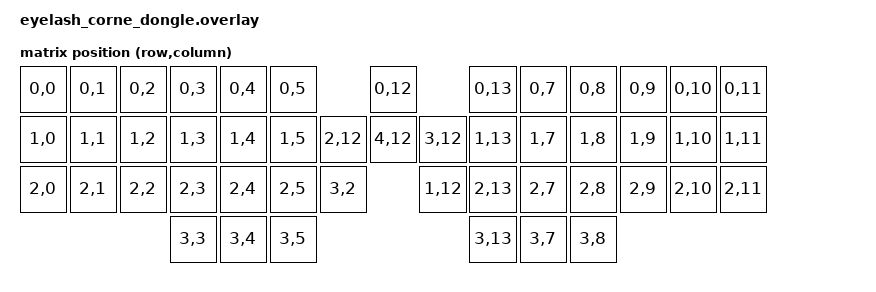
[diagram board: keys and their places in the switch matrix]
/* PandaKB 1.3-inch OLED receiver dongle (nice!nano v2-compatible nRF52840). */

#include <dt-bindings/zmk/matrix_transform.h>
#include "../eyelash_corne/eyelash_corne-layouts.dtsi"

/ {
    chosen {
        zmk,kscan = &mock_kscan;
        zmk,physical-layout = &default_layout;
        zephyr,display = &oled;
    };

    /* The dongle has no matrix; this lets it act as the split central. */
    mock_kscan: mock_kscan_0 {
        compatible = "zmk,kscan-mock";
        columns = <0>;
        rows = <0>;
        events = <0>;
    };

    /* Must match the transform used by both keyboard halves. */
    default_transform: keymap_transform_0 {
        compatible = "zmk,matrix-transform";
        columns = <14>;
        rows = <5>;
        map = <
            RC(0,0) RC(0,1) RC(0,2) RC(0,3) RC(0,4) RC(0,5)                      RC(0,12)           RC(0,13) RC(0,7) RC(0,8) RC(0,9) RC(0,10) RC(0,11)
            RC(1,0) RC(1,1) RC(1,2) RC(1,3) RC(1,4) RC(1,5)             RC(2,12) RC(4,12) RC(3,12)  RC(1,13) RC(1,7) RC(1,8) RC(1,9) RC(1,10) RC(1,11)
            RC(2,0) RC(2,1) RC(2,2) RC(2,3) RC(2,4) RC(2,5) RC(3,2)              RC(1,12)           RC(2,13) RC(2,7) RC(2,8) RC(2,9) RC(2,10) RC(2,11)
                                    RC(3,3) RC(3,4) RC(3,5)                                         RC(3,13) RC(3,7) RC(3,8)
        >;
    };
};

&pinctrl {
    i2c0_default: i2c0_default {
        group1 {
            psels = <NRF_PSEL(TWIM_SDA, 0, 17)>,
                    <NRF_PSEL(TWIM_SCL, 0, 20)>;
        };
    };

    i2c0_sleep: i2c0_sleep {
        group1 {
            psels = <NRF_PSEL(TWIM_SDA, 0, 17)>,
                    <NRF_PSEL(TWIM_SCL, 0, 20)>;
            low-power-enable;
        };
    };
};

/* `pro_micro_i2c` is I2C0 exposed on the nice!nano-compatible header. */
&pro_micro_i2c {
    status = "okay";
    pinctrl-0 = <&i2c0_default>;
    pinctrl-1 = <&i2c0_sleep>;
    pinctrl-names = "default", "sleep";
    clock-frequency = <I2C_BITRATE_STANDARD>;

    oled: sh1106@3c {
        compatible = "sinowealth,sh1106";
        reg = <0x3c>;
        width = <128>;
        height = <64>;
        segment-offset = <2>;
        page-offset = <0>;
        display-offset = <0>;
        multiplex-ratio = <63>;
        prechargep = <0x22>;
    };
};
